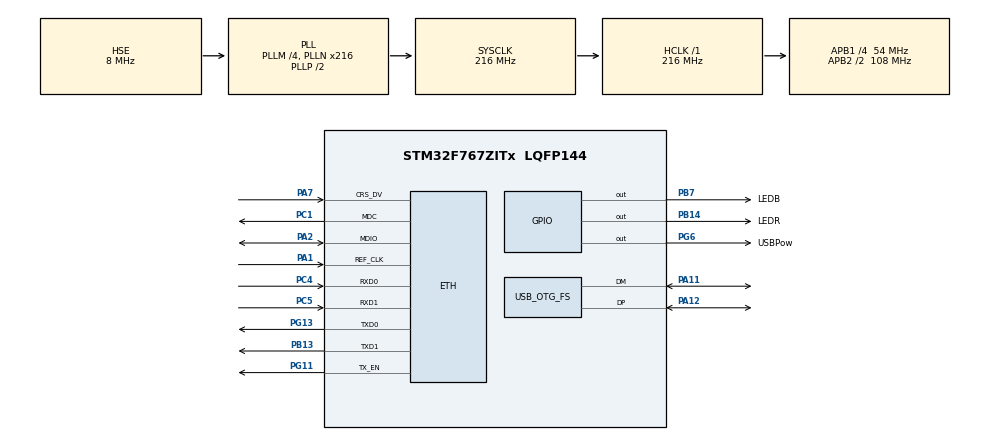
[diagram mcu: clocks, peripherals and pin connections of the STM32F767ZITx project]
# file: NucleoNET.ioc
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CORTEX_M7.default_mode_Activation=1
ETH.MACAddr=00\:80\:E1\:00\:DE\:AD
ETH.MediaInterface=HAL_ETH_RMII_MODE
LWIP.BSP.number=1
LWIP.GATEWAY_ADDRESS=192.168.000.001
LWIP.IP_ADDRESS=192.168.000.025
LWIP.LWIP_DHCP=0
LWIP.LWIP_STATS=0
LWIP.MEMP_NUM_TCP_SEG=80
LWIP.NETMASK_ADDRESS=255.255.255.000
LWIP.TCP_SND_BUF=8192
LWIP.TCP_WND=8192
LWIP.Version=v2.1.2_Cube
LWIP0.BSP.STBoard=false
LWIP0.BSP.api=BSP_COMPONENT_DRIVER
LWIP0.BSP.component=LAN8742
LWIP0.BSP.instance=LAN8742
LWIP0.BSP.name=Driver_PHY
LWIP0.BSP.semaphore=S_LAN8742
LWIP0.BSP.solution=LAN8742
Mcu.Family=STM32F7
Mcu.Name=STM32F767ZITx
Mcu.Package=LQFP144
NVIC.OTG_FS_IRQn=true\:0\:0\:false\:false\:true\:false\:true\:true
NVIC.PriorityGroup=NVIC_PRIORITYGROUP_4
PA1.Mode=RMII
PA1.Signal=ETH_REF_CLK
PA11.Mode=Host_Only
PA11.Signal=USB_OTG_FS_DM
PA12.Mode=Host_Only
PA12.Signal=USB_OTG_FS_DP
PA13.Mode=Serial_Wire
PA13.Signal=SYS_JTMS-SWDIO
PA14.Mode=Serial_Wire
PA14.Signal=SYS_JTCK-SWCLK
PA2.Mode=RMII
PA2.Signal=ETH_MDIO
PA7.Mode=RMII
PA7.Signal=ETH_CRS_DV
PB13.Mode=RMII
PB13.Signal=ETH_TXD1
PB14.GPIO_Label=LEDR
PB14.Signal=GPIO_Output
PB7.GPIO_Label=LEDB
PB7.Signal=GPIO_Output
PC1.Mode=RMII
PC1.Signal=ETH_MDC
PC4.Mode=RMII
PC4.Signal=ETH_RXD0
PC5.Mode=RMII
PC5.Signal=ETH_RXD1
PG11.Mode=RMII
PG11.Signal=ETH_TX_EN
PG13.Mode=RMII
PG13.Signal=ETH_TXD0
PG6.GPIO_Label=USBPow
PG6.Signal=GPIO_Output
PH0/OSC_IN.Mode=HSE-External-Oscillator
PH0/OSC_IN.Signal=RCC_OSC_IN
PH1/OSC_OUT.Mode=HSE-External-Oscillator
PH1/OSC_OUT.Signal=RCC_OSC_OUT
ProjectManager.HeapSize=0x200
ProjectManager.StackSize=0x400
ProjectManager.TargetToolchain=STM32CubeIDE
RCC.AHBFreq_Value=216000000
RCC.APB1CLKDivider=RCC_HCLK_DIV4
RCC.APB1Freq_Value=54000000
RCC.APB1TimFreq_Value=108000000
RCC.APB2CLKDivider=RCC_HCLK_DIV2
RCC.APB2Freq_Value=108000000
RCC.APB2TimFreq_Value=216000000
RCC.CortexFreq_Value=216000000
RCC.HCLKFreq_Value=216000000
RCC.HSE_VALUE=8000000
RCC.HSI_VALUE=16000000
RCC.LSE_VALUE=32768
RCC.PLLM=4
RCC.PLLN=216
RCC.PLLQ=9
RCC.SYSCLKFreq_VALUE=216000000
RCC.SYSCLKSource=RCC_SYSCLKSOURCE_PLLCLK
RCC.USBFreq_Value=48000000
RCC.VCOOutputFreq_Value=432000000
USB_HOST.SW_VBUS_DRIVE_CDC_FS=true
USB_HOST.USBH_HandleTypeDef-CDC_FS=hUsbHostFS
USB_HOST.VirtualModeFS=Cdc
USB_OTG_FS.VirtualMode=Host_Only
USB_OTG_FS.phy_itface=HCD_PHY_EMBEDDED
VP_LWIP_VS_Enabled.Mode=Enabled
VP_USB_HOST_VS_USB_HOST_CDC_FS.Mode=CDC_FS
board=custom

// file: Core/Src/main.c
/* USER CODE BEGIN Header */
/**
  ******************************************************************************
  * @file           : main.c
  * @brief          : Main program body
  ******************************************************************************
  * @attention
  *
  * Copyright (c) 2025 STMicroelectronics.
  * All rights reserved.
  *
  * This software is licensed under terms that can be found in the LICENSE file
  * in the root directory of this software component.
  * If no LICENSE file comes with this software, it is provided AS-IS.
  *
  ******************************************************************************
  */
#include <string.h>
/* USER CODE END Header */
#include "main.h"
#include "lwip.h"
#include "usb_host.h"

/* USER CODE BEGIN Includes */

#include "lwip/udp.h"
#include "lwip/timeouts.h"
#include "lwip/netif.h"
#include "lwip/ip_addr.h"
#include "mqtt_broker_connector.h"
#include "lwip/ip4_addr.h"
#include "itm_ports.h"

static struct udp_pcb *g_upcb = NULL;
static ip_addr_t g_dst_ip;
#define UDP_DST_PORT 5005

/* USER CODE END Includes */

/* USER CODE BEGIN PV */
#include "usb_host.h"
#include "usbh_cdc.h"

#include <string.h>
#include <stdio.h>

extern ApplicationTypeDef Appli_state;  // только extern, без инициализации
extern uint8_t  dummy_rx[256];
extern volatile uint8_t  cdc_rx_ready;
extern volatile uint32_t cdc_rx_len;
extern uint8_t  cdc_tx_buf[256];
extern USBH_HandleTypeDef hUsbHostFS;
extern uint16_t plugNwk;

/* USER CODE END PV */

void SystemClock_Config(void);
static void MPU_Config(void);
static void MX_GPIO_Init(void);
void MX_USB_HOST_Process(void);

/* USER CODE BEGIN 0 */

// Функция для ITM (SWO)
int _write(int file, char *ptr, int len)
{
    for (int i = 0; i < len; i++) {
        ITM_SendChar((uint32_t)*ptr++);
    }
    return len;
}

// для http_server ----------------------------------
#include "http_server.h"

// (опционально) своя реализация хука:
void HTTP_OnOutputChanged(uint8_t index, uint8_t new_state)
{
    char buf[64];
    snprintf(buf, sizeof(buf),
             "EVENT: socket %u -> %u\r\n",
             (unsigned)index, (unsigned)new_state);
    ITM_Print_Port(2, buf);

    // здесь же можешь включать/выключать реальные выходы GPIO
}
// для http_server ----------------------------------

/* USER CODE END 0 */

int main(void)
{

  /* MPU Configuration--------------------------------------------------------*/
  MPU_Config();

  /* MCU Configuration--------------------------------------------------------*/

  /* Reset of all peripherals, Initializes the Flash interface and the Systick. */
  HAL_Init();

  /* Configure the system clock */
  SystemClock_Config();

  /* Initialize all configured peripherals */
  MX_GPIO_Init();
  MX_LWIP_Init();
  MX_USB_HOST_Init();
  /* USER CODE BEGIN 2 */

  HAL_GPIO_WritePin(LEDB_GPIO_Port,LEDB_Pin,1);
  HAL_GPIO_WritePin(LEDR_GPIO_Port,LEDR_Pin,1);
  HAL_GPIO_WritePin(USBPow_GPIO_Port,USBPow_Pin,1);
  HAL_Delay(100);

  extern struct netif gnetif;
  uint32_t t0 = HAL_GetTick();
  while (!netif_is_link_up(&gnetif) && (HAL_GetTick() - t0 < 10000)) {
      MX_LWIP_Process();
  }

  // Цель: например, ПК с netcat:  nc -ul 5005
  IP_ADDR4(&g_dst_ip, 192,168,0,100); // замени на адрес ПК/сервера
  g_upcb = udp_new();
  if (g_upcb) {
    udp_connect(g_upcb, &g_dst_ip, UDP_DST_PORT);
  }

  // Настраиваем IP брокера (сюда IP машины с mosquitto)
  MQTT_InitBrokerIP(192, 168, 0, 100);   // пример

  // Подключаемся к MQTT брокеру
  MQTT_Start();

  // Сервер HTTP
  HTTP_Server_Init();   // <= вот это добавить

  ITM_Print_Port(0, "Main Start\r\n");

  /* USER CODE END 2 */

  /* Infinite loop */
  /* USER CODE BEGIN WHILE */
  uint32_t last = 0;
  uint32_t last_led = 0;
  uint8_t  started = 0;
  uint32_t last_ping = 0;

  while (1)
  {
	  MX_LWIP_Process();   // генерит ethernetif_input() + sys_check_timeouts()
	  MQTT_Process();           // MQTT-телеметрия
	  MX_USB_HOST_Process();

	  if (g_upcb && (HAL_GetTick() - last) >= 1000*60) {  // раз в секунду
	      const char *msg = "Hello from F767 over UDP\n";
	      struct pbuf *pb = pbuf_alloc(PBUF_TRANSPORT, strlen(msg), PBUF_RAM);
	      if (pb) {
	        memcpy(pb->payload, msg, pb->len);
	        udp_send(g_upcb, pb);
	        pbuf_free(pb);
	      }
	      last = HAL_GetTick();
	  }
    /* USER CODE END WHILE */
    MX_USB_HOST_Process();

    /* USER CODE BEGIN 3 */
    // мигаем без блокировок
    uint32_t now = HAL_GetTick();
    if (now - last_led > 200) {
        last_led = now;
        HAL_GPIO_TogglePin(LEDB_GPIO_Port, LEDB_Pin);
        HAL_GPIO_TogglePin(LEDR_GPIO_Port, LEDR_Pin);
        ITM_Print_Port(0, "ZNP RX frame\r\n");      // старый лог
        ITM_Print_Port(1, "Parser OK\r\n");        // отдельное окно под парсер
        ITM_Print_Port(1, "On/Off cmd sent\r\n");

    }

    if (Appli_state == APPLICATION_READY)
    {
    	if (!started) {
    	    HAL_Delay(50);

    	    if (Send_EF_raw() == 0) {
    	        printf("EF sent\r\n");
    	    }

    	    uint32_t t0 = HAL_GetTick();
    	    while ((HAL_GetTick() - t0) < 500) {
    	        MX_USB_HOST_Process();
    	        if (cdc_rx_ready) {
    	            uint32_t n = cdc_rx_len;
    	            cdc_rx_ready = 0;

    	            printf("RX RAW:");
    	            for (uint32_t i = 0; i < n; i++) {
    	                printf(" %02X", dummy_rx[i]);
    	            }
    	            printf("\r\n");

    	            ZNP_ParseBytes(dummy_rx, n);
    	            USBH_CDC_Receive(&hUsbHostFS, dummy_rx, sizeof(dummy_rx));
    	        }
    	    }

    	    ZNP_Send_SYS_PING();                 // контроль линка
    	    ZB_START_REQUEST();
    	    ZNP_AF_REGISTER();                   // <--- ВАЖНО: регаем APP_EP
    	    ZNP_Send_ZDO_NWK_ADDR_REQ_Plug();    // ищем NWK для розетки

    	    started = 1;
    	}

    	if (cdc_rx_ready) {
    	    uint32_t n = cdc_rx_len;
    	    cdc_rx_ready = 0;

    	    printf("RX RAW:");
    	    for (uint32_t i = 0; i < n; i++) {
    	        printf(" %02X", dummy_rx[i]);
    	    }
    	    printf("\r\n");

    	    ZNP_ParseBytes(dummy_rx, n);
    	    USBH_CDC_Receive(&hUsbHostFS, dummy_rx, sizeof(dummy_rx));
    	}

        static uint32_t last_toggle = 0;
        static uint8_t state = 0;

        if (plugNwk && (now - last_toggle > 3000)) { // раз в 3 секунды
            last_toggle = now;
            state = !state;
            send_onoff(state);
        }

        if (now - last_ping > 5000) {
            last_ping = now;
            ZNP_Send_SYS_PING();
        }

    }else
    if (Appli_state == APPLICATION_DISCONNECT){
    	started = 0;
    }
    /* USER CODE END 3 */
  }
}

void SystemClock_Config(void)
{
  RCC_OscInitTypeDef RCC_OscInitStruct = {0};
  RCC_ClkInitTypeDef RCC_ClkInitStruct = {0};

  /** Configure the main internal regulator output voltage
  */
  __HAL_RCC_PWR_CLK_ENABLE();
  __HAL_PWR_VOLTAGESCALING_CONFIG(PWR_REGULATOR_VOLTAGE_SCALE1);

  /** Initializes the RCC Oscillators according to the specified parameters
  * in the RCC_OscInitTypeDef structure.
  */
  RCC_OscInitStruct.OscillatorType = RCC_OSCILLATORTYPE_HSE;
  RCC_OscInitStruct.HSEState = RCC_HSE_ON;
  RCC_OscInitStruct.PLL.PLLState = RCC_PLL_ON;
  RCC_OscInitStruct.PLL.PLLSource = RCC_PLLSOURCE_HSE;
  RCC_OscInitStruct.PLL.PLLM = 4;
  RCC_OscInitStruct.PLL.PLLN = 216;
  RCC_OscInitStruct.PLL.PLLP = RCC_PLLP_DIV2;
  RCC_OscInitStruct.PLL.PLLQ = 9;
  RCC_OscInitStruct.PLL.PLLR = 2;
  if (HAL_RCC_OscConfig(&RCC_OscInitStruct) != HAL_OK)
  {
    Error_Handler();
  }

  /** Activate the Over-Drive mode
  */
  if (HAL_PWREx_EnableOverDrive() != HAL_OK)
  {
    Error_Handler();
  }

  /** Initializes the CPU, AHB and APB buses clocks
  */
  RCC_ClkInitStruct.ClockType = RCC_CLOCKTYPE_HCLK|RCC_CLOCKTYPE_SYSCLK
                              |RCC_CLOCKTYPE_PCLK1|RCC_CLOCKTYPE_PCLK2;
  RCC_ClkInitStruct.SYSCLKSource = RCC_SYSCLKSOURCE_PLLCLK;
  RCC_ClkInitStruct.AHBCLKDivider = RCC_SYSCLK_DIV1;
  RCC_ClkInitStruct.APB1CLKDivider = RCC_HCLK_DIV4;
  RCC_ClkInitStruct.APB2CLKDivider = RCC_HCLK_DIV2;

  if (HAL_RCC_ClockConfig(&RCC_ClkInitStruct, FLASH_LATENCY_7) != HAL_OK)
  {
    Error_Handler();
  }
}

static void MX_GPIO_Init(void)
{
  GPIO_InitTypeDef GPIO_InitStruct = {0};

  /* GPIO Ports Clock Enable */
  __HAL_RCC_GPIOH_CLK_ENABLE();
  __HAL_RCC_GPIOC_CLK_ENABLE();
  __HAL_RCC_GPIOA_CLK_ENABLE();
  __HAL_RCC_GPIOB_CLK_ENABLE();
  __HAL_RCC_GPIOG_CLK_ENABLE();

  /*Configure GPIO pin Output Level */
  HAL_GPIO_WritePin(GPIOB, LEDR_Pin|LEDB_Pin, GPIO_PIN_RESET);

  /*Configure GPIO pin Output Level */
  HAL_GPIO_WritePin(USBPow_GPIO_Port, USBPow_Pin, GPIO_PIN_RESET);

  /*Configure GPIO pins : LEDR_Pin LEDB_Pin */
  GPIO_InitStruct.Pin = LEDR_Pin|LEDB_Pin;
  GPIO_InitStruct.Mode = GPIO_MODE_OUTPUT_PP;
  GPIO_InitStruct.Pull = GPIO_NOPULL;
  GPIO_InitStruct.Speed = GPIO_SPEED_FREQ_LOW;
  HAL_GPIO_Init(GPIOB, &GPIO_InitStruct);

  /*Configure GPIO pin : USBPow_Pin */
  GPIO_InitStruct.Pin = USBPow_Pin;
  GPIO_InitStruct.Mode = GPIO_MODE_OUTPUT_PP;
  GPIO_InitStruct.Pull = GPIO_NOPULL;
  GPIO_InitStruct.Speed = GPIO_SPEED_FREQ_LOW;
  HAL_GPIO_Init(USBPow_GPIO_Port, &GPIO_InitStruct);

}

 /* MPU Configuration */

void MPU_Config(void)
{
  MPU_Region_InitTypeDef MPU_InitStruct = {0};

  /* Disables the MPU */
  HAL_MPU_Disable();

  /** Initializes and configures the Region and the memory to be protected
  */
  MPU_InitStruct.Enable = MPU_REGION_ENABLE;
  MPU_InitStruct.Number = MPU_REGION_NUMBER0;
  MPU_InitStruct.BaseAddress = 0x0;
  MPU_InitStruct.Size = MPU_REGION_SIZE_4GB;
  MPU_InitStruct.SubRegionDisable = 0x87;
  MPU_InitStruct.TypeExtField = MPU_TEX_LEVEL0;
  MPU_InitStruct.AccessPermission = MPU_REGION_NO_ACCESS;
  MPU_InitStruct.DisableExec = MPU_INSTRUCTION_ACCESS_DISABLE;
  MPU_InitStruct.IsShareable = MPU_ACCESS_SHAREABLE;
  MPU_InitStruct.IsCacheable = MPU_ACCESS_NOT_CACHEABLE;
  MPU_InitStruct.IsBufferable = MPU_ACCESS_NOT_BUFFERABLE;

  HAL_MPU_ConfigRegion(&MPU_InitStruct);
  /* Enables the MPU */
  HAL_MPU_Enable(MPU_PRIVILEGED_DEFAULT);

}

void Error_Handler(void)
{
  __disable_irq();
  while (1)
  {
  }
}
